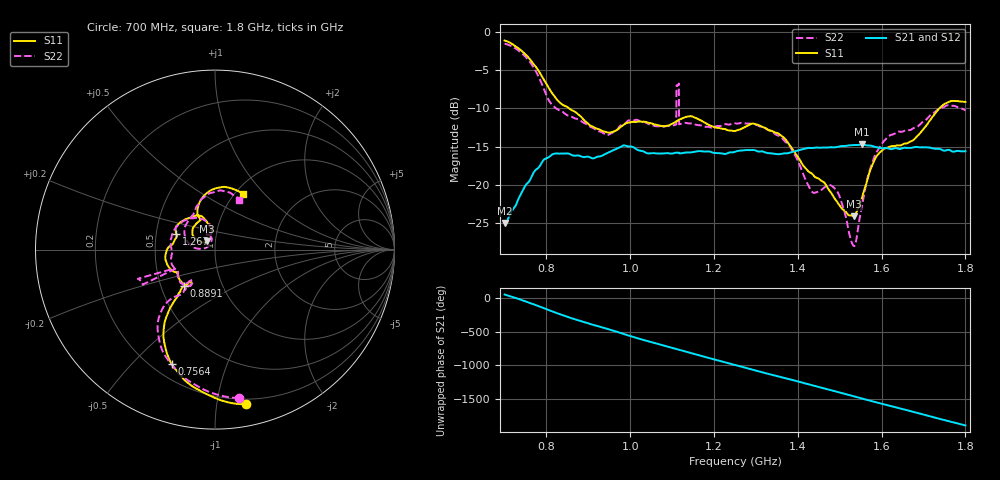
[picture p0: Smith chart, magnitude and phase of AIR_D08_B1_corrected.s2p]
! Created with skrf 1.9.0 (http://scikit-rf.org).
# Hz S RI R 50.0
!freq ReS11 ImS11 ReS21 ImS21 ReS12 ImS12 ReS22 ImS22
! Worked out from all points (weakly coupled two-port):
!   1601 points, 700 MHz to 1.8 GHz, reference 50 ohm
!   highest |S21| = -14.69 dB at 1.554 GHz (marker M1); lowest = -25.0 dB at 700 MHz (marker M2)
!   lowest |S11| = -24.1 dB at 1.533 GHz (marker M3), VSWR 1.13, Z = 45.7 + j4.15 ohm
!   |S11| at or under -10 dB: 854 MHz to 1.738 GHz (883.7 MHz wide, 68.2 % of centre)
!   |S22| runs from -28.0 to -1.6 dB; largest |S21 - S12| = 0.0036
!   S11 on the Smith chart (normalised r, x): 700 MHz: 0.16, -1.20; 756.4 MHz: 0.27, -0.66; 889.1 MHz: 0.66, -0.29; 1.267 GHz: 0.64, +0.12; 1.8 GHz: 1.09, +0.77
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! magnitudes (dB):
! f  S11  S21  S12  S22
! 700 MHz  -1.1  -25.0  -24.8  -1.6
! 756.4 MHz  -3.3  -19.7  -19.6  -3.7
! 812.8 MHz  -8.0  -16.1  -16.0  -9.5
! 883.6 MHz  -11.2  -16.3  -16.2  -11.7
! 889.1 MHz  -11.5  -16.4  -16.3  -11.9
! 944.8 MHz  -13.1  -15.8  -15.9  -13.5
! 1.067 GHz  -12.2  -15.9  -15.8  -12.3
! 1.104 GHz  -11.9  -15.9  -15.8  -12.2
! 1.116 GHz  -11.5  -15.8  -15.8  -6.8
! 1.122 GHz  -11.4  -15.9  -15.8  -12.0
! 1.25 GHz  -13.0  -15.7  -15.6  -11.9
! 1.267 GHz  -12.6  -15.5  -15.5  -11.9
! 1.361 GHz  -13.6  -15.9  -16.0  -13.8
! 1.434 GHz  -18.5  -15.2  -15.1  -20.9
! 1.491 GHz  -22.0  -15.1  -15.1  -20.6
! 1.533 GHz  -24.1  -14.8  -14.8  -28.0
! 1.554 GHz  -21.5  -14.7  -14.7  -22.6
! 1.581 GHz  -16.9  -15.0  -15.0  -16.5
! 1.617 GHz  -15.1  -15.3  -15.2  -13.6
! 1.676 GHz  -14.2  -15.1  -15.1  -12.6
! 1.754 GHz  -9.3  -15.5  -15.5  -9.6
! 1.8 GHz  -9.2  -15.6  -15.6  -10.3
